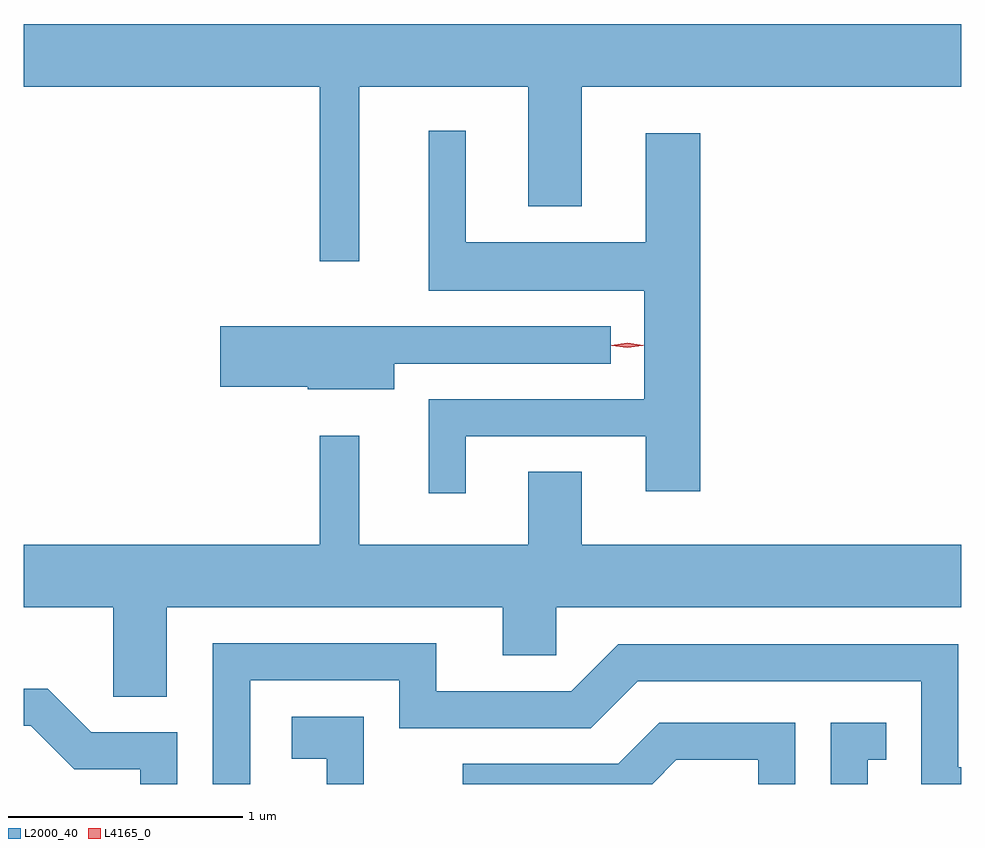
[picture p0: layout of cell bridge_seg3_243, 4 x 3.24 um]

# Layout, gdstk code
import gdstk
lib = gdstk.Library(unit=1e-6, precision=1e-09)
def P(c, l, *ps):  # polygons
    for p in ps: c.add(gdstk.Polygon(p, *l))
L2000_40 = (2000, 40)
L4165_0 = (4165, 0)

bridge_seg3_243 = lib.new_cell('bridge_seg3_243')
P(bridge_seg3_243, L2000_40, [(978.089,1132.676),(978.811,1132.676),(978.811,1132.166),(979.039,1132.166),(979.039,1132.676),(980.658,1132.676),(980.658,1132.944),(976.658,1132.944),(976.658,1132.676),(977.921,1132.676),(977.921,1131.933),(978.089,1131.933)],
  [(978.544,1131.186),(979.311,1131.186),(979.311,1130.951),(979.544,1130.951),(979.544,1132.479),(979.311,1132.479),(979.311,1132.014),(978.544,1132.014),(978.544,1132.488),(978.386,1132.488),(978.386,1131.806),(979.306,1131.806),(979.306,1131.344),(978.386,1131.344),(978.386,1130.943),(978.544,1130.943)],
  [(978.239,1131.496),(979.163,1131.496),(979.163,1131.654),(977.496,1131.654),(977.496,1131.396),(977.87,1131.396),(977.87,1131.386),(978.239,1131.386)],
  [(977.269,1130.456),(978.701,1130.456),(978.701,1130.251),(978.929,1130.251),(978.929,1130.456),(980.658,1130.456),(980.658,1130.724),(979.039,1130.724),(979.039,1131.034),(978.811,1131.034),(978.811,1130.724),(978.089,1130.724),(978.089,1131.188),(977.921,1131.188),(977.921,1130.724),(976.658,1130.724),(976.658,1130.456),(977.041,1130.456),(977.041,1130.076),(977.269,1130.076)],
  [(977.624,1130.146),(978.261,1130.146),(978.261,1129.941),(979.077,1129.941),(979.277,1130.141),(980.486,1130.141),(980.486,1129.703),(980.658,1129.703),(980.658,1129.774),(980.644,1129.774),(980.644,1130.299),(979.194,1130.299),(978.994,1130.099),(978.419,1130.099),(978.419,1130.304),(977.466,1130.304),(977.466,1129.703),(977.624,1129.703)],
  [(977.314,1129.924),(976.947,1129.924),(976.762,1130.109),(976.658,1130.109),(976.658,1129.951),(976.689,1129.951),(976.874,1129.766),(977.156,1129.766),(977.156,1129.703),(977.314,1129.703)],
  [(978.109,1129.989),(977.801,1129.989),(977.801,1129.811),(977.951,1129.811),(977.951,1129.703),(978.109,1129.703)],
  [(979.442,1129.806),(979.791,1129.806),(979.791,1129.703),(979.949,1129.703),(979.949,1129.964),(979.369,1129.964),(979.194,1129.789),(978.531,1129.789),(978.531,1129.703),(979.339,1129.703)],
  [(980.259,1129.806),(980.338,1129.806),(980.338,1129.964),(980.101,1129.964),(980.101,1129.703),(980.259,1129.703)])
P(bridge_seg3_243, L4165_0, [(979.233,1131.565),(979.164,1131.574),(979.163,1131.575),(979.164,1131.575),(979.233,1131.585),(979.302,1131.575),(979.302,1131.575),(979.302,1131.574)],
  [(979.233,1131.563),(979.167,1131.572),(979.167,1131.573),(979.167,1131.573),(979.233,1131.583),(979.299,1131.573),(979.299,1131.573),(979.299,1131.572)])

lib.write_gds('bridge_seg3_243.gds')
